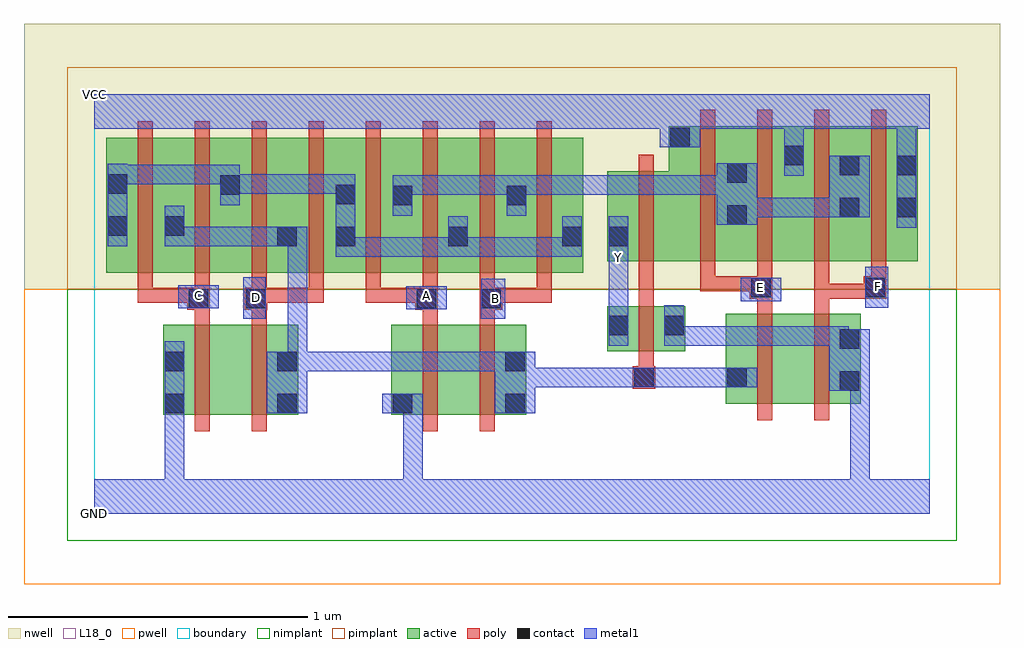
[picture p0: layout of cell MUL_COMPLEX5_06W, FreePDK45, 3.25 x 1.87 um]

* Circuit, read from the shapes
.subckt MUL_COMPLEX5_06W A B C D E F GND VCC Y
M1 n1 C GND VSUBS nfet w=0.3u l=0.05u
M2 n2 D n1 VSUBS nfet w=0.3u l=0.05u
M3 n3 A GND VSUBS nfet w=0.3u l=0.05u
M4 n2 B n3 VSUBS nfet w=0.3u l=0.05u
M5 GND n2 Y VSUBS nfet w=0.15u l=0.05u
M6 n4 E n2 VSUBS nfet w=0.3u l=0.05u
M7 GND F n4 VSUBS nfet w=0.3u l=0.05u
M8 n2 C n5 n6 pfet w=0.45u l=0.05u m=2
M9 n2 D n5 n6 pfet w=0.45u l=0.05u m=2
M10 n7 A n5 n6 pfet w=0.45u l=0.05u m=2
M11 n7 B n5 n6 pfet w=0.45u l=0.05u m=2
M12 VCC n2 Y n6 pfet w=0.3u l=0.05u
M13 n7 E VCC n6 pfet w=0.45u l=0.05u m=2
M14 n7 F VCC n6 pfet w=0.45u l=0.05u m=2
.ends

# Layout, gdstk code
import gdstk
lib = gdstk.Library(unit=1e-6, precision=1e-09)
def R(c, l, rs):  # rectangles x0, y0, x1, y1
    for r in rs: c.add(gdstk.rectangle(r[:2], r[2:], *l))
def A(c, l, x, y, w, h, nx, ny, dx, dy):  # array of equal rectangles
    R(c, l, [(x+i*dx, y+j*dy, x+i*dx+w, y+j*dy+h) for i in range(nx) for j in range(ny)])
active = (1, 0)
pwell = (2, 0)
nwell = (3, 0)
nimplant = (4, 0)
pimplant = (5, 0)
poly = (9, 0)
contact = (10, 0)
metal1 = (11, 0)
L18_0 = (18, 0)
boundary = (235, 0)

mul_complex5_06w = lib.new_cell('MUL_COMPLEX5_06W')
R(mul_complex5_06w, active, [(0.23,0.33,0.455,0.63), (0.23,0.33,0.305,0.63), (0.455,0.33,0.68,0.63), (0.605,0.33,0.68,0.63), (0.99,0.33,1.215,0.63), (0.99,0.33,1.065,0.547), (1.215,0.33,1.44,0.63), (1.365,0.33,1.44,0.63), (2.105,0.367,2.33,0.667), (2.33,0.367,2.555,0.667), (2.105,0.382,2.18,0.667), (2.48,0.395,2.555,0.667), (1.71,0.542,1.785,0.692), (1.71,0.542,1.97,0.692), (1.895,0.542,1.97,0.692), (0.04,0.805,0.305,1.255), (0.04,0.805,0.115,1.2), (0.23,0.805,0.49,1.255), (0.23,0.805,0.305,1.07), (0.415,0.805,0.68,1.255), (0.415,0.805,0.49,1.2), (0.605,0.805,0.68,1.07), (0.605,0.805,0.875,1.255), (0.8,0.805,1.065,1.255), (0.8,0.805,0.875,1.2), (0.99,0.805,1.25,1.255), (0.99,0.805,1.065,1.2), (1.175,0.805,1.25,1.07), (1.175,0.805,1.445,1.255), (1.37,0.805,1.63,1.255), (1.37,0.805,1.445,1.2), (1.555,0.805,1.63,1.07), (1.71,0.842,1.99,1.142), (1.915,0.842,2.18,1.292), (2.105,0.842,2.37,1.292), (2.105,0.842,2.18,1.2), (2.295,0.842,2.37,1.292), (2.295,0.842,2.555,1.292), (2.48,0.842,2.745,1.292), (2.48,0.842,2.555,1.2), (2.67,0.842,2.745,1.292), (1.71,0.887,1.785,1.07), (1.915,0.96,1.99,1.292)])
R(mul_complex5_06w, pwell, [(-0.235,-0.235,3.02,0.75)])
R(mul_complex5_06w, nwell, [(-0.235,0.75,3.02,1.635)])
R(mul_complex5_06w, nimplant, [(-0.09,-0.09,2.875,0.75)])
R(mul_complex5_06w, pimplant, [(-0.09,0.75,2.875,1.49)])
A(mul_complex5_06w, poly, 0.145, 0.705, 0.05, 0.095, 8, 1, 0.19, 0)
A(mul_complex5_06w, poly, 0.145, 0.75, 0.05, 0.56, 8, 1, 0.19, 0)
A(mul_complex5_06w, poly, 2.02, 0.787, 0.05, 0.56, 4, 1, 0.19, 0)
R(mul_complex5_06w, poly, [(0.335,0.275,0.385,0.685), (0.525,0.275,0.575,0.685), (1.095,0.275,1.145,0.685), (1.285,0.275,1.335,0.685), (2.21,0.312,2.26,0.722), (2.4,0.312,2.45,0.722), (1.795,0.417,1.87,0.492), (1.815,0.442,1.865,0.537), (1.815,0.487,1.865,0.747), (0.335,0.635,0.385,0.73), (0.525,0.635,0.575,0.73), (1.095,0.635,1.145,0.73), (1.285,0.635,1.335,0.73), (2.21,0.672,2.26,0.767), (2.4,0.672,2.45,0.767), (0.31,0.68,0.385,0.755), (0.502,0.68,0.577,0.755), (1.07,0.68,1.145,0.755), (1.285,0.68,1.36,0.755), (1.815,0.697,1.865,0.792), (0.145,0.705,0.195,0.755), (0.145,0.705,0.36,0.755), (0.31,0.705,0.36,0.755), (0.31,0.705,0.36,0.755), (0.527,0.705,0.765,0.755), (0.715,0.705,0.765,0.755), (0.715,0.705,0.765,0.755), (0.715,0.705,0.765,0.755), (0.905,0.705,0.955,0.755), (0.905,0.705,0.955,0.755), (0.905,0.705,0.955,0.755), (0.905,0.705,1.12,0.755), (1.31,0.705,1.36,0.755), (1.31,0.705,1.36,0.755), (1.31,0.705,1.525,0.755), (1.475,0.705,1.525,0.755), (2.185,0.717,2.26,0.792), (2.4,0.717,2.45,0.767), (2.4,0.717,2.615,0.767), (2.4,0.717,2.45,0.837), (2.565,0.717,2.615,0.767), (2.565,0.717,2.615,0.767), (2.565,0.717,2.64,0.792), (1.815,0.742,1.865,0.837), (1.815,0.742,1.865,0.792), (2.02,0.742,2.07,0.837), (2.02,0.742,2.07,0.792), (2.02,0.742,2.07,0.792), (2.02,0.742,2.07,0.792), (2.02,0.742,2.235,0.792), (2.21,0.742,2.26,0.837), (2.59,0.742,2.64,0.837), (1.815,0.787,1.865,1.197)])
R(mul_complex5_06w, contact, [(0.235,0.335,0.3,0.4), (0.61,0.335,0.675,0.4), (0.995,0.335,1.06,0.4), (1.37,0.335,1.435,0.4), (2.485,0.41,2.55,0.475), (1.8,0.422,1.865,0.487), (2.11,0.422,2.175,0.487), (0.235,0.475,0.3,0.54), (0.61,0.475,0.675,0.54), (1.37,0.475,1.435,0.54), (2.485,0.55,2.55,0.615), (1.715,0.595,1.78,0.66), (1.9,0.595,1.965,0.66), (0.315,0.685,0.38,0.75), (0.507,0.685,0.572,0.75), (1.075,0.685,1.14,0.75), (1.29,0.685,1.355,0.75), (2.19,0.722,2.255,0.787), (2.57,0.722,2.635,0.787), (0.61,0.892,0.675,0.957), (0.805,0.892,0.87,0.957), (1.18,0.892,1.245,0.957), (1.56,0.892,1.625,0.957), (1.715,0.892,1.78,0.957), (0.045,0.927,0.11,0.992), (0.235,0.927,0.3,0.992), (2.11,0.965,2.175,1.03), (2.485,0.99,2.55,1.055), (2.675,0.99,2.74,1.055), (0.995,1.03,1.06,1.095), (1.375,1.03,1.44,1.095), (0.805,1.032,0.87,1.097), (0.42,1.065,0.485,1.13), (0.045,1.067,0.11,1.132), (2.11,1.105,2.175,1.17), (2.485,1.13,2.55,1.195), (2.675,1.13,2.74,1.195), (2.3,1.162,2.365,1.227), (1.92,1.222,1.985,1.287)])
R(mul_complex5_06w, metal1, [(0,0,2.785,0.115), (0.235,0.05,0.3,0.115), (0.235,0.05,0.3,0.115), (0.235,0.05,0.3,0.115), (0.235,0.05,0.3,0.115), (0.235,0.05,0.3,0.365), (1.03,0.05,1.095,0.115), (1.03,0.05,1.095,0.115), (1.03,0.05,1.095,0.4), (2.52,0.05,2.585,0.115), (2.52,0.05,2.585,0.115), (2.52,0.05,2.585,0.115), (2.52,0.05,2.585,0.115), (2.52,0.05,2.585,0.475), (0.235,0.3,0.3,0.575), (0.575,0.335,0.71,0.54), (0.96,0.335,1.095,0.4), (1.03,0.335,1.095,0.4), (1.03,0.335,1.095,0.4), (1.335,0.335,1.47,0.54), (2.45,0.41,2.585,0.615), (1.405,0.422,1.47,0.487), (1.405,0.422,1.47,0.487), (1.405,0.422,1.642,0.487), (1.577,0.422,1.642,0.487), (1.577,0.422,1.642,0.487), (1.577,0.422,1.642,0.487), (1.577,0.422,1.762,0.487), (1.697,0.422,1.762,0.487), (1.697,0.422,1.762,0.487), (1.697,0.422,1.762,0.487), (1.697,0.422,1.83,0.487), (1.765,0.422,1.9,0.487), (1.835,0.422,1.9,0.487), (1.835,0.422,1.9,0.487), (1.835,0.422,2.055,0.487), (1.99,0.422,2.055,0.487), (1.99,0.422,2.14,0.487), (2.075,0.422,2.21,0.487), (0.645,0.475,0.71,0.54), (0.645,0.475,0.71,0.54), (0.645,0.475,0.71,0.54), (0.645,0.475,0.71,0.54), (0.645,0.475,0.87,0.54), (0.645,0.475,0.71,0.957), (0.805,0.475,0.87,0.54), (0.805,0.475,0.87,0.54), (0.805,0.475,0.87,0.54), (0.805,0.475,1.007,0.54), (0.942,0.475,1.007,0.54), (0.942,0.475,1.007,0.54), (0.942,0.475,1.007,0.54), (0.942,0.475,1.205,0.54), (1.14,0.475,1.205,0.54), (1.14,0.475,1.205,0.54), (1.14,0.475,1.205,0.54), (1.14,0.475,1.4,0.54), (2.45,0.55,2.515,0.625), (2.45,0.55,2.515,0.615), (2.45,0.55,2.515,0.615), (1.715,0.56,1.78,0.695), (1.9,0.56,1.965,0.695), (1.9,0.56,2.072,0.625), (2.007,0.56,2.072,0.625), (2.007,0.56,2.227,0.625), (2.162,0.56,2.365,0.625), (2.162,0.56,2.227,0.625), (2.162,0.56,2.227,0.625), (2.162,0.56,2.227,0.625), (2.3,0.56,2.515,0.625), (2.3,0.56,2.365,0.625), (2.3,0.56,2.365,0.625), (2.3,0.56,2.365,0.625), (2.45,0.56,2.515,0.625), (1.715,0.63,1.78,0.852), (0.497,0.65,0.572,0.79), (1.29,0.65,1.37,0.785), (1.04,0.682,1.175,0.76), (0.28,0.685,0.415,0.762), (2.57,0.687,2.647,0.825), (2.155,0.71,2.29,0.787), (1.715,0.787,1.78,0.922), (0.805,0.857,0.87,1.132), (0.805,0.857,0.87,0.922), (0.805,0.857,0.87,0.922), (0.805,0.857,0.87,0.922), (0.805,0.857,0.87,0.922), (0.805,0.857,1.007,0.922), (0.942,0.857,1.007,0.922), (0.942,0.857,1.007,0.922), (0.942,0.857,1.007,0.922), (0.942,0.857,1.245,0.922), (1.18,0.857,1.245,0.922), (1.18,0.857,1.245,0.922), (1.18,0.857,1.245,0.992), (1.18,0.857,1.487,0.922), (1.422,0.857,1.625,0.922), (1.422,0.857,1.487,0.922), (1.56,0.857,1.625,0.922), (1.56,0.857,1.625,0.922), (1.56,0.857,1.625,0.992), (1.715,0.857,1.78,0.922), (1.715,0.857,1.78,0.992), (0.045,0.892,0.11,1.167), (0.235,0.892,0.3,0.957), (0.235,0.892,0.3,0.957), (0.235,0.892,0.3,1.027), (0.235,0.892,0.485,0.957), (0.42,0.892,0.485,0.957), (0.42,0.892,0.485,0.957), (0.42,0.892,0.485,0.957), (0.42,0.892,0.64,0.957), (0.575,0.892,0.71,0.957), (2.675,0.955,2.74,1.23), (2.075,0.965,2.21,1.17), (2.145,0.99,2.21,1.055), (2.145,0.99,2.21,1.055), (2.145,0.99,2.377,1.055), (2.312,0.99,2.515,1.055), (2.312,0.99,2.377,1.055), (2.312,0.99,2.377,1.055), (2.312,0.99,2.377,1.055), (2.45,0.99,2.585,1.195), (0.995,0.995,1.06,1.13), (1.375,0.995,1.44,1.13), (0.42,1.03,0.485,1.165), (0.995,1.065,1.06,1.13), (0.995,1.065,1.06,1.13), (0.995,1.065,1.197,1.13), (1.132,1.065,1.197,1.13), (1.132,1.065,1.197,1.13), (1.132,1.065,1.197,1.13), (1.132,1.065,1.44,1.13), (1.375,1.065,1.44,1.13), (1.375,1.065,1.44,1.13), (1.375,1.065,1.692,1.13), (1.627,1.065,1.692,1.13), (1.627,1.065,1.762,1.13), (1.697,1.065,1.762,1.13), (1.697,1.065,1.917,1.13), (1.852,1.065,2.055,1.13), (1.852,1.065,1.917,1.13), (1.852,1.065,1.917,1.13), (1.852,1.065,1.917,1.13), (1.852,1.065,1.917,1.13), (1.852,1.065,1.917,1.13), (1.99,1.065,2.055,1.13), (1.99,1.065,2.14,1.13), (0.42,1.067,0.485,1.132), (0.42,1.067,0.485,1.132), (0.42,1.067,0.732,1.132), (0.667,1.067,0.87,1.132), (0.667,1.067,0.732,1.132), (0.667,1.067,0.732,1.132), (0.667,1.067,0.732,1.132), (0.045,1.1,0.11,1.165), (0.045,1.1,0.11,1.165), (0.045,1.1,0.347,1.165), (0.282,1.1,0.485,1.165), (0.282,1.1,0.347,1.165), (0.282,1.1,0.347,1.165), (0.282,1.1,0.347,1.165), (2.3,1.127,2.365,1.262), (2.675,1.165,2.74,1.35), (2.3,1.197,2.365,1.35), (1.885,1.222,2.02,1.287), (1.955,1.222,2.02,1.35), (0,1.285,2.785,1.4)])
R(mul_complex5_06w, L18_0, [(0,0,2.785,0.115), (0.235,0.05,0.3,0.115), (0.235,0.05,0.3,0.115), (0.235,0.05,0.3,0.115), (0.235,0.05,0.3,0.115), (0.235,0.05,0.3,0.365), (1.03,0.05,1.095,0.115), (1.03,0.05,1.095,0.115), (1.03,0.05,1.095,0.4), (2.52,0.05,2.585,0.115), (2.52,0.05,2.585,0.115), (2.52,0.05,2.585,0.115), (2.52,0.05,2.585,0.115), (2.52,0.05,2.585,0.475), (0.235,0.3,0.3,0.575), (0.96,0.335,1.095,0.4), (1.03,0.335,1.095,0.4), (1.03,0.335,1.095,0.4), (2.45,0.41,2.585,0.615), (2.45,0.55,2.515,0.615), (2.45,0.55,2.515,0.615), (2.45,0.55,2.515,0.625), (1.715,0.56,1.78,0.695), (1.9,0.56,1.965,0.695), (1.9,0.56,2.072,0.625), (2.007,0.56,2.072,0.625), (2.007,0.56,2.227,0.625), (2.162,0.56,2.227,0.625), (2.162,0.56,2.227,0.625), (2.162,0.56,2.227,0.625), (2.162,0.56,2.365,0.625), (2.3,0.56,2.365,0.625), (2.3,0.56,2.365,0.625), (2.3,0.56,2.365,0.625), (2.3,0.56,2.515,0.625), (2.45,0.56,2.515,0.625), (1.715,0.63,1.78,0.852), (0.497,0.65,0.572,0.79), (1.29,0.65,1.37,0.785), (1.04,0.682,1.175,0.76), (0.28,0.685,0.415,0.762), (1.305,0.685,1.37,0.75), (2.57,0.687,2.647,0.825), (0.507,0.69,0.572,0.755), (1.075,0.695,1.14,0.76), (0.315,0.697,0.38,0.762), (2.155,0.71,2.29,0.787), (2.19,0.722,2.255,0.787), (2.582,0.725,2.647,0.79), (1.715,0.787,1.78,0.922), (1.715,0.822,1.78,0.887), (1.715,0.857,1.78,0.922), (1.715,0.857,1.78,0.992), (2.675,0.955,2.74,1.23), (2.3,1.127,2.365,1.262), (2.675,1.165,2.74,1.35), (2.3,1.197,2.365,1.35), (1.885,1.222,2.02,1.287), (1.955,1.222,2.02,1.35), (0,1.285,2.785,1.4)])
R(mul_complex5_06w, boundary, [(0,0,2.785,1.4)])
mul_complex5_06w.add(gdstk.Label('A', (1.107,0.727), layer=11, texttype=0))
mul_complex5_06w.add(gdstk.Label('B', (1.337,0.717), layer=11, texttype=0))
mul_complex5_06w.add(gdstk.Label('C', (0.347,0.73), layer=11, texttype=0))
mul_complex5_06w.add(gdstk.Label('D', (0.54,0.722), layer=11, texttype=0))
mul_complex5_06w.add(gdstk.Label('E', (2.222,0.755), layer=11, texttype=0))
mul_complex5_06w.add(gdstk.Label('F', (2.615,0.757), layer=11, texttype=0))
mul_complex5_06w.add(gdstk.Label('Y', (1.747,0.855), layer=11, texttype=0))
mul_complex5_06w.add(gdstk.Label('VCC', (0,1.4), layer=11, texttype=0))
mul_complex5_06w.add(gdstk.Label('GND', (0,0), layer=11, texttype=0))

lib.write_gds('MUL_COMPLEX5_06W.gds')
